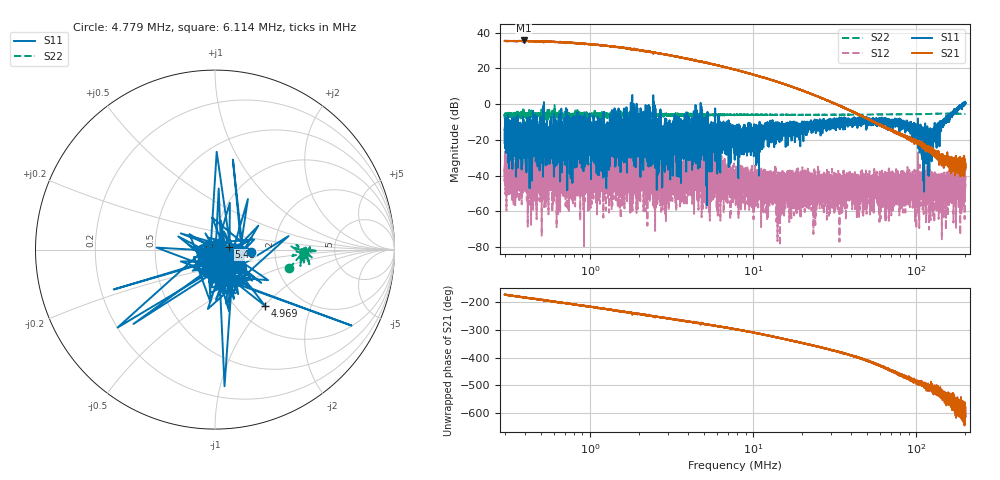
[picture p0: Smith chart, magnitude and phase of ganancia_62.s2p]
# Hz S DB R 50
! CMT, M5065, 19127446, 24.2.4/2
! Date: 11/1/2024 3:51:01 PM
! Data: Format (Calibration Info)
! Freq	S11:dB/Ang(F2)	S21:dB/Ang(F2)	S12:dB/Ang(F2)	S22:dB/Ang(F2)
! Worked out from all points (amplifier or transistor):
!   9000 points, 300 kHz to 200 MHz, reference 50 ohm
!   highest |S21| = 35.7 dB at 391.9 kHz (marker M1)
!   |S21| within 3 dB of that: start of sweep to 1.213 MHz (the widest 1 of 11)
!   unconditionally stable (mu >= 1): 5.134 MHz to 5.682 MHz; 6.132 MHz to 190.2 MHz; 190.7 MHz to 192 MHz (the widest 3 of 786)
!   at 886.8 kHz: K = 1.14, MAG = 35.6 dB, |S12| = -41.8 dB
!   at 7.749 MHz: K = 5.25, MAG = 21.0 dB, |S12| = -43.0 dB
!   at 200 MHz: K = -509.43, MSG = 6.0 dB, |S12| = -45.8 dB
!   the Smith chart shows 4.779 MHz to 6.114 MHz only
!   S11 on the Smith chart (normalised r, x): 4.779 MHz: 1.51, -0.03; 4.969 MHz: 1.33, -1.02; 5.45 MHz: 1.17, +0.03; 6.114 MHz: 0.96, -0.38
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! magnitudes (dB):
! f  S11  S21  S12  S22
! 300 kHz  -21.8  35.3  -33.7  -7.7
! 332.9 kHz  -32.3  35.4  -39.8  -5.3
! 391.9 kHz  -13.9  35.7  -37.6  -10.4
! 886.8 kHz  -23.2  33.9  -41.8  -6.5
! 1.122 MHz  -22.3  33.1  -46.1  -6.2
! 2.103 MHz  -30.8  30.0  -39.6  -5.5
! 2.251 MHz  -9.9  29.4  -68.1  -6.0
! 2.35 MHz  -18.4  29.3  -29.4  -7.5
! 2.621 MHz  -15.2  28.5  -35.7  -6.5
! 3.502 MHz  -36.9  26.4  -36.7  -5.7
! 4.779 MHz  -13.9  23.8  -18.6  -7.4
! 4.969 MHz  -7.5  23.6  -48.3  -6.1
! 5.45 MHz  -21.9  22.6  -35.8  -6.3
! 6.114 MHz  -14.4  21.7  -41.2  -6.1
! 7.749 MHz  -12.2  19.4  -43.0  -6.0
! 9.807 MHz  -18.0  16.8  -45.0  -5.9
! 22.91 MHz  -11.1  5.6  -43.0  -5.9
! 67.71 MHz  -8.5  -14.2  -43.0  -5.7
! 89.88 MHz  -13.2  -20.1  -48.1  -5.7
! 117.5 MHz  -20.0  -24.5  -45.5  -5.5
! 164.1 MHz  -5.9  -38.8  -45.6  -5.3
! 200 MHz  0.6  -33.8  -45.8  -5.4
